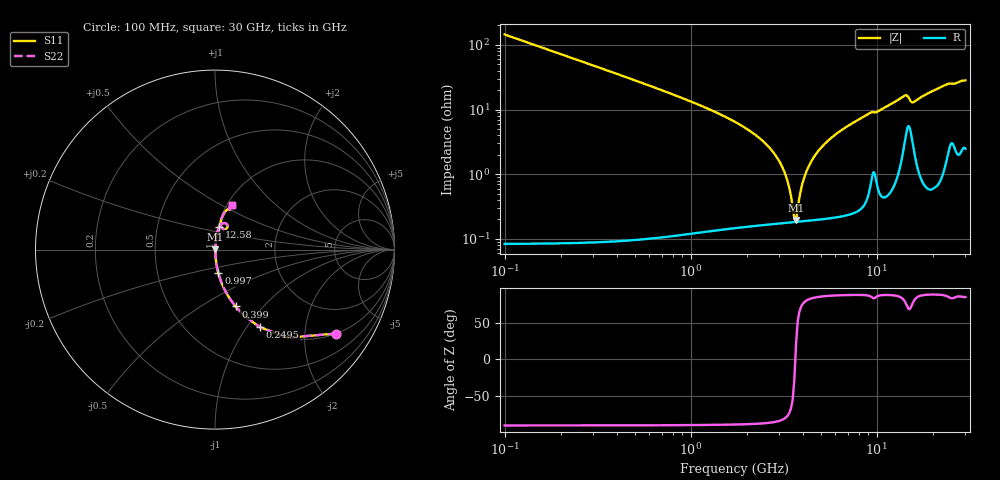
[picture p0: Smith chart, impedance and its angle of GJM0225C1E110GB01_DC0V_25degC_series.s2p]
!Murata Part Number: GJM0225C1E110GB01
!These Parameters are Measured in Series Mode Connection
!  o--ll--o
!Port1  Port2
!  o------o
!Operation Temp=25[degC], DC Bias Voltage=0[V]
!Freq. Start=100[MHz] Stop=30[GHz], 401[Steps]
!Data Generated on Feb 1, 2023
# Hz S RI R 50
!Freq.(Hz) S11(Real) S11(Imag) S21(Real) S21(Imag) S12(Real) S12(Imag) S22(Real) S22(Imag)
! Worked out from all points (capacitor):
!   401 points, 100 MHz to 30 GHz, reference 50 ohm
!   read as one part in series: C = 11 pF near 249.5 MHz
!   lowest |Z| = 196 mohm at 3.688 GHz (marker M1)
!   series resonance near 3.655 GHz, so ESL is about 170 pH
!   S11 on the Smith chart (normalised r, x): 100 MHz: 1.00, -2.89; 249.5 MHz: 1.00, -1.15; 399 MHz: 1.00, -0.72; 997 MHz: 1.00, -0.27; 12.58 GHz: 1.01, +0.26; 30 GHz: 1.05, +0.56
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1e8  0.6763 -0.4676  0.3237 0.4676  0.3237 0.4676  0.6763 -0.4676
2.495e8  0.2501 -0.4323  0.7499 0.4323  0.7499 0.4323  0.2501 -0.4323
3.99e8  0.1143 -0.3169  0.8857 0.3169  0.8857 0.3169  0.1143 -0.3169
9.97e8  0.0188 -0.1313  0.9812 0.1313  0.9812 0.1313  0.0188 -0.1313
2.86575e9  0.00208 -0.0193  0.9979 0.0193  0.9979 0.0193  0.00208 -0.0193
3.2395e9  0.00185 -0.0095  0.9981 0.0095  0.9981 0.0095  0.00185 -0.0095
3.5385e9  0.00181 -0.00255  0.9982 0.00255  0.9982 0.00255  0.00181 -0.00255
3.688e9  0.00183 0.000702  0.9982 -0.000702  0.9982 -0.000702  0.00183 0.000702
3.76275e9  0.00184 0.00228  0.9982 -0.00228  0.9982 -0.00228  0.00184 0.00228
3.987e9  0.00191 0.00684  0.9981 -0.00684  0.9981 -0.00684  0.00191 0.00684
4.21125e9  0.00202 0.0112  0.998 -0.0112  0.998 -0.0112  0.00202 0.0112
4.585e9  0.00227 0.018  0.9977 -0.018  0.9977 -0.018  0.00227 0.018
5.10825e9  0.00273 0.0268  0.9973 -0.0268  0.9973 -0.0268  0.00273 0.0268
7.20125e9  0.00578 0.0581  0.9942 -0.0581  0.9942 -0.0581  0.00578 0.0581
1.01165e10  0.0146 0.0909  0.9854 -0.0909  0.9854 -0.0909  0.0146 0.0909
1.258325e10  0.024 0.128  0.976 -0.128  0.976 -0.128  0.024 0.128
1.422775e10  0.0562 0.1476  0.9438 -0.1476  0.9438 -0.1476  0.0562 0.1476
1.505e10  0.0645 0.118  0.9355 -0.118  0.9355 -0.118  0.0645 0.118
1.572275e10  0.0408 0.1182  0.9592 -0.1182  0.9592 -0.1182  0.0408 0.1182
2.005825e10  0.0416 0.1848  0.9584 -0.1848  0.9584 -0.1848  0.0416 0.1848
2.50665e10  0.0828 0.2234  0.9172 -0.2234  0.9172 -0.2234  0.0828 0.2234
3e10  0.0921 0.2485  0.9079 -0.2485  0.9079 -0.2485  0.0921 0.2485
